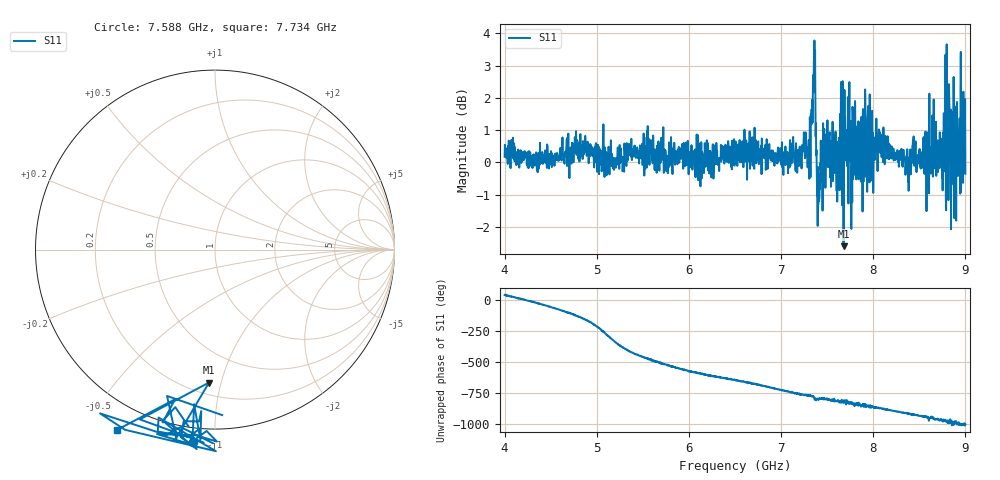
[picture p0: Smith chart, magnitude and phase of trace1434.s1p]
! Created with skrf 1.8.0 (http://scikit-rf.org).
# Hz S RI R 50.0
!freq ReS11 ImS11
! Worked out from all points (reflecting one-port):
!   1601 points, 4 GHz to 9 GHz, reference 50 ohm
!   lowest |S11| = -2.6 dB at 7.678 GHz (marker M1), VSWR 6.73, Z = 13.9 - j45.8 ohm
!   phase of S11 starts at 38 deg and turns -1045 deg over the sweep
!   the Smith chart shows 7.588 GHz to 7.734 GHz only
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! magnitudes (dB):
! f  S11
! 4 GHz  0.2
! 4.625 GHz  0.4
! 5.25 GHz  0.5
! 5.875 GHz  -0.1
! 6.5 GHz  0.0
! 7.125 GHz  0.2
! 7.294 GHz  0.3
! 7.347 GHz  2.7
! 7.369 GHz  3.5
! 7.397 GHz  -2.0
! 7.412 GHz  -1.2
! 7.478 GHz  0.7
! 7.622 GHz  0.3
! 7.678 GHz  -2.6
! 7.75 GHz  0.3
! 7.909 GHz  0.1
! 7.962 GHz  2.1
! 7.981 GHz  -0.6
! 8.05 GHz  0.8
! 8.375 GHz  0.1
! 8.441 GHz  0.4
! 8.581 GHz  0.4
! 8.634 GHz  -0.1
! 8.728 GHz  -0.1
! 8.816 GHz  -1.2
! 8.869 GHz  -0.1
! 8.972 GHz  0.7
! 9 GHz  -0.4
